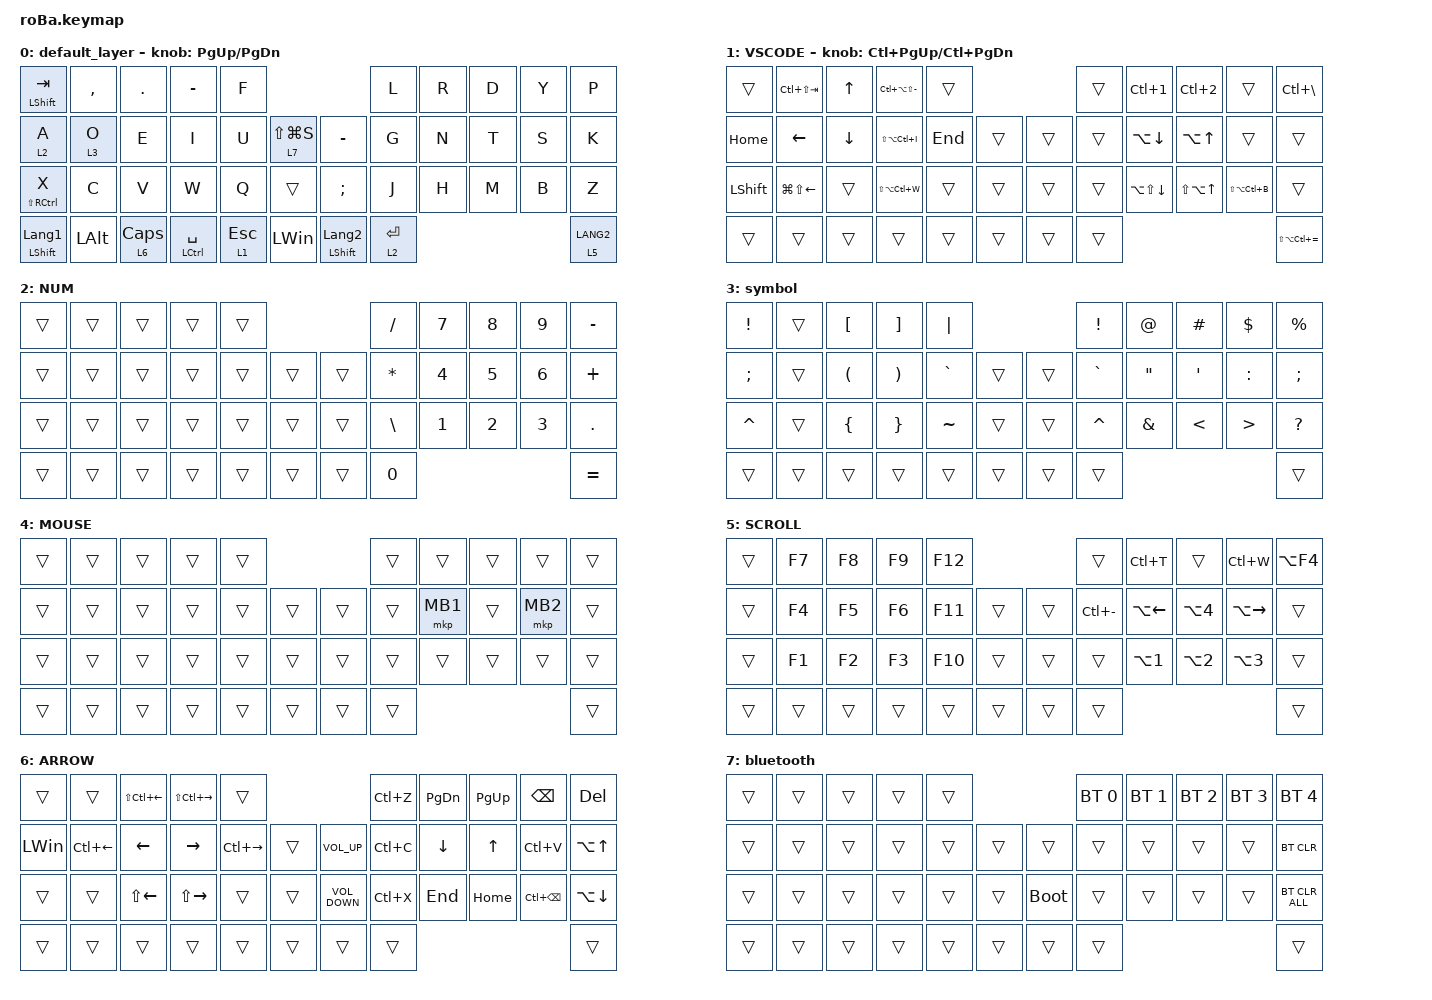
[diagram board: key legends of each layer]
#include <behaviors.dtsi>
#include <dt-bindings/zmk/bt.h>
#include <dt-bindings/zmk/keys.h>
#include <dt-bindings/zmk/pointing.h>

&mt {
    flavor = "balanced";
    quick-tap-ms = <0>;
};

&trackball {
    automouse-layer = <4>;
    scroll-layers = <5>;

    // arrows {
    //     layers = <3>;
    //     bindings =
    //         <&kp RIGHT_ARROW>,
    //         <&kp LEFT_ARROW>,
    //         <&kp UP_ARROW>,
    //         <&kp DOWN_ARROW>;
    //     tick = <10>;
    //     wait-ms = <5>;
    //     tap-ms = <5>;
    // };
};

/ {
    combos {
        compatible = "zmk,combos";

        parenthesis {
            bindings = <&parenthesis>;
            key-positions = <11 12>;
        };

        double_quotation {
            bindings = <&kp DOUBLE_QUOTES>;
            key-positions = <12 13>;
        };

        bracket {
            bindings = <&brackets>;
            key-positions = <1 2>;
        };

        brace {
            bindings = <&brace>;
            key-positions = <23 24>;
        };

        backspace {
            bindings = <&kp BACKSPACE>;
            key-positions = <19 20>;
            layers = <0>;
        };

        quotation {
            bindings = <&kp SQT>;
            key-positions = <24 25>;
        };

        bc {
            bindings = <&kp GRAVE>;
            key-positions = <2 3>;
        };
    };

    macros {
        to_layer_0: to_layer_0 {
            compatible = "zmk,behavior-macro-one-param";
            #binding-cells = <1>;
            bindings = <&to 0 &macro_param_1to1 &kp MACRO_PLACEHOLDER>;
            label = "TO_LAYER_0";
        };

        brackets: brackets {
            compatible = "zmk,behavior-macro";
            #binding-cells = <0>;
            bindings = <&kp LEFT_BRACKET &kp RIGHT_BRACKET &kp LEFT_ARROW>;
            label = "[]";
        };

        parenthesis: parenthesis {
            compatible = "zmk,behavior-macro";
            #binding-cells = <0>;
            bindings = <&kp LEFT_PARENTHESIS &kp RIGHT_PARENTHESIS &kp LEFT_ARROW>;
            label = "()";
        };

        brace: brace {
            compatible = "zmk,behavior-macro";
            #binding-cells = <0>;
            bindings = <&kp LEFT_BRACE &kp RIGHT_BRACE &kp LEFT_ARROW>;
            label = "{}";
        };
    };

    behaviors {
        lt_to_layer_0: lt_to_layer_0 {
            compatible = "zmk,behavior-hold-tap";
            label = "LAYER_TAP_TO_0";
            bindings = <&mo>, <&to_layer_0>;

            #binding-cells = <2>;
            tapping-term-ms = <200>;
        };
    };

    keymap {
        compatible = "zmk,keymap";

        default_layer {
            bindings = <
&mt LEFT_SHIFT TAB         &kp COMMA     &kp PERIOD      &kp MINUS        &kp F                                                         &kp L        &kp R  &kp D  &kp Y  &kp P
&lt 2 A                    &lt 3 O       &kp E           &kp I            &kp U         &lt 7 LS(LG(S))      &kp MINUS                  &kp G        &kp N  &kp T  &kp S  &kp K
&mt LS(RCTRL) X            &kp C         &kp V           &kp W            &kp Q         &trans               &kp SEMICOLON              &kp J        &kp H  &kp M  &kp B  &kp Z
&mt LEFT_SHIFT LANGUAGE_1  &kp LEFT_ALT  &lt 6 CAPSLOCK  &mt LCTRL SPACE  &lt 1 ESCAPE  &kp LEFT_WIN         &mt LEFT_SHIFT LANGUAGE_2  &lt 2 ENTER                       &lt 5 LANG2
            >;

            sensor-bindings = <&inc_dec_kp PG_UP PAGE_DOWN>;
        };

        VSCODE {
            bindings = <
&trans          &kp LC(LS(TAB))         &kp UP_ARROW    &kp LC(LA(LS(MINUS)))  &trans                       &trans  &kp LC(NUMBER_1)  &kp LC(NUMBER_2)  &trans             &kp LC(BACKSLASH)
&kp HOME        &kp LEFT_ARROW          &kp DOWN_ARROW  &kp LS(LA(LC(I)))      &kp END  &trans      &trans  &trans  &kp LA(DOWN)      &kp LA(UP)        &trans             &trans
&kp LEFT_SHIFT  &kp LG(LS(LEFT_ARROW))  &trans          &kp LS(LA(LC(W)))      &trans   &trans      &trans  &trans  &kp LA(LS(DOWN))  &kp LS(LA(UP))    &kp LS(LA(LC(B)))  &trans
&trans          &trans                  &trans          &trans                 &trans   &trans      &trans  &trans                                                         &kp LS(LA(LC(EQUAL)))
            >;

            sensor-bindings = <&inc_dec_kp LC(PAGE_UP) LC(PAGE_DOWN)>;
        };

        NUM {
            bindings = <
&trans  &trans  &trans  &trans  &trans                      &kp SLASH      &kp N7        &kp N8        &kp N9        &kp MINUS
&trans  &trans  &trans  &trans  &trans  &trans      &trans  &kp ASTERISK   &kp NUMBER_4  &kp N5        &kp NUMBER_6  &kp PLUS
&trans  &trans  &trans  &trans  &trans  &trans      &trans  &kp BACKSLASH  &kp NUMBER_1  &kp NUMBER_2  &kp NUMBER_3  &kp PERIOD
&trans  &trans  &trans  &trans  &trans  &trans      &trans  &kp N0                                                   &kp EQUAL
            >;
        };

        symbol {
            bindings = <
&kp EXCLAMATION  &trans  &kp LEFT_BRACKET      &kp RIGHT_BRACKET      &kp PIPE                       &kp EXCLAMATION  &kp AT             &kp HASH       &kp DOLLAR        &kp PERCENT
&kp SEMICOLON    &trans  &kp LEFT_PARENTHESIS  &kp RIGHT_PARENTHESIS  &kp GRAVE  &trans      &trans  &kp GRAVE        &kp DOUBLE_QUOTES  &kp SQT        &kp COLON         &kp SEMI
&kp CARET        &trans  &kp LEFT_BRACE        &kp RIGHT_BRACE        &kp TILDE  &trans      &trans  &kp CARET        &kp AMPS           &kp LESS_THAN  &kp GREATER_THAN  &kp QUESTION
&trans           &trans  &trans                &trans                 &trans     &trans      &trans  &trans                                                               &trans
            >;
        };

        MOUSE {
            bindings = <
&trans  &trans  &trans  &trans  &trans                      &trans  &trans    &trans  &trans    &trans
&trans  &trans  &trans  &trans  &trans  &trans      &trans  &trans  &mkp MB1  &trans  &mkp MB2  &trans
&trans  &trans  &trans  &trans  &trans  &trans      &trans  &trans  &trans    &trans  &trans    &trans
&trans  &trans  &trans  &trans  &trans  &trans      &trans  &trans                              &trans
            >;
        };

        SCROLL {
            bindings = <
&trans  &kp F7  &kp F8  &kp F9  &kp F12                      &trans         &kp LC(T)         &trans            &kp LC(W)         &kp LA(F4)
&trans  &kp F4  &kp F5  &kp F6  &kp F11  &trans      &trans  &kp LC(MINUS)  &kp LA(LEFT)      &kp LA(NUMBER_4)  &kp LA(RIGHT)     &trans
&trans  &kp F1  &kp F2  &kp F3  &kp F10  &trans      &trans  &trans         &kp LA(NUMBER_1)  &kp LA(NUMBER_2)  &kp LA(NUMBER_3)  &trans
&trans  &trans  &trans  &trans  &trans   &trans      &trans  &trans                                                               &trans
            >;
        };

        ARROW {
            bindings = <
&trans        &trans        &kp LS(LC(LEFT))  &kp LS(LC(RIGHT))  &trans                                        &kp LC(Z)  &kp PAGE_DOWN  &kp PAGE_UP  &kp BACKSPACE      &kp DELETE
&kp LEFT_WIN  &kp LC(LEFT)  &kp LEFT          &kp RIGHT          &kp LC(RIGHT)  &trans      &kp C_VOLUME_UP    &kp LC(C)  &kp DOWN       &kp UP       &kp LC(V)          &kp LA(UP)
&trans        &trans        &kp LS(LEFT)      &kp LS(RIGHT)      &trans         &trans      &kp C_VOLUME_DOWN  &kp LC(X)  &kp END        &kp HOME     &kp LC(BACKSPACE)  &kp LA(DOWN)
&trans        &trans        &trans            &trans             &trans         &trans      &trans             &trans                                                    &trans
            >;
        };

        bluetooth {
            bindings = <
&trans  &trans  &trans  &trans  &trans                           &bt BT_SEL 0  &bt BT_SEL 1  &bt BT_SEL 2  &bt BT_SEL 3  &bt BT_SEL 4
&trans  &trans  &trans  &trans  &trans  &trans      &trans       &trans        &trans        &trans        &trans        &bt BT_CLR
&trans  &trans  &trans  &trans  &trans  &trans      &bootloader  &trans        &trans        &trans        &trans        &bt BT_CLR_ALL
&trans  &trans  &trans  &trans  &trans  &trans      &trans       &trans                                                  &trans
            >;
        };
    };
};
